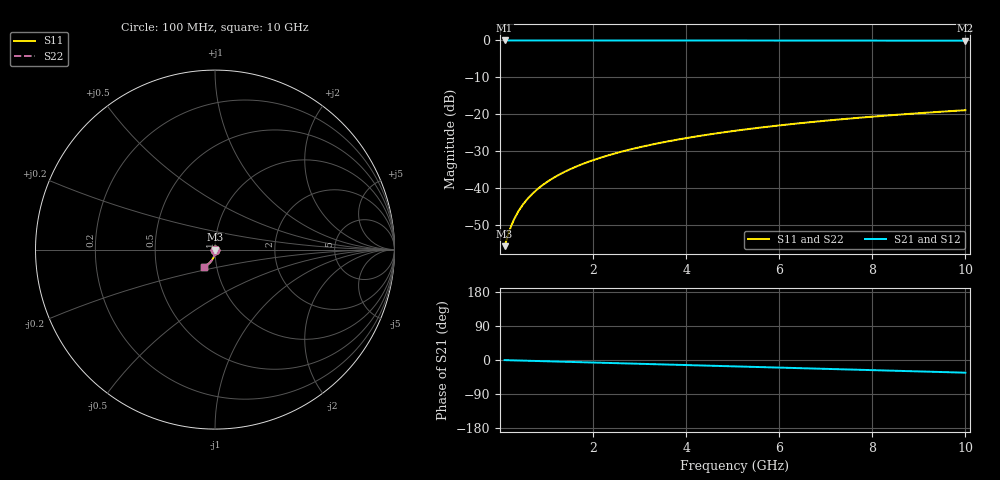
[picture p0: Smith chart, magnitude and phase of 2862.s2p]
# Hz S RI R 50.00
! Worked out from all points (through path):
!   100 points, 100 MHz to 10 GHz, reference 50 ohm
!   highest |S21| = -0.01 dB at 100 MHz (marker M1); lowest = -0.1 dB at 10 GHz (marker M2)
!   group delay of S21, straight-line fit = 9.3 ps
!   lowest |S11| = -55.7 dB at 100 MHz (marker M3), VSWR 1.00, Z = 50.1 - j0.12 ohm
!   |S11| at or under -10 dB: start of sweep to end of sweep
!   |S22| runs from -55.7 to -18.9 dB; largest |S21 - S12| = 0
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1e8  0.00111 -0.0012  0.9989 -0.00581  0.9989 -0.00581  0.00111 -0.0012
2e8  0.0011 -0.0024  0.9988 -0.0116  0.9988 -0.0116  0.0011 -0.0024
3e8  0.00106 -0.0036  0.9987 -0.0174  0.9987 -0.0174  0.00106 -0.0036
4e8  0.00102 -0.0048  0.9986 -0.0232  0.9986 -0.0232  0.00102 -0.0048
5e8  0.000955 -0.006  0.9984 -0.029  0.9984 -0.029  0.000955 -0.006
6e8  0.000878 -0.0072  0.9982 -0.0348  0.9982 -0.0348  0.000878 -0.0072
7e8  0.000788 -0.0084  0.998 -0.0406  0.998 -0.0406  0.000788 -0.0084
8e8  0.000683 -0.00959  0.9977 -0.0465  0.9977 -0.0465  0.000683 -0.00959
9e8  0.000564 -0.0108  0.9974 -0.0523  0.9974 -0.0523  0.000564 -0.0108
1.1e9  0.000284 -0.0132  0.9967 -0.0639  0.9967 -0.0639  0.000284 -0.0132
1.4e9  -0.00024 -0.0167  0.9953 -0.0812  0.9953 -0.0812  -0.00024 -0.0167
1.8e9  -0.00113 -0.0215  0.9931 -0.1044  0.9931 -0.1044  -0.00113 -0.0215
2.1e9  -0.00195 -0.025  0.991 -0.1217  0.991 -0.1217  -0.00195 -0.025
2.5e9  -0.00323 -0.0297  0.9877 -0.1447  0.9877 -0.1447  -0.00323 -0.0297
2.9e9  -0.00472 -0.0342  0.9839 -0.1677  0.9839 -0.1677  -0.00472 -0.0342
3.4e9  -0.00689 -0.0399  0.9784 -0.1963  0.9784 -0.1963  -0.00689 -0.0399
4.2e9  -0.011 -0.0486  0.9677 -0.2416  0.9677 -0.2416  -0.011 -0.0486
5.1e9  -0.0167 -0.058  0.953 -0.292  0.953 -0.292  -0.0167 -0.058
5.9e9  -0.0225 -0.0658  0.9377 -0.336  0.9377 -0.336  -0.0225 -0.0658
6.7e9  -0.029 -0.073  0.9203 -0.3792  0.9203 -0.3792  -0.029 -0.073
8.4e9  -0.0448 -0.0861  0.8766 -0.468  0.8766 -0.468  -0.0448 -0.0861
1e10  -0.0618 -0.0953  0.8274 -0.547  0.8274 -0.547  -0.0618 -0.0953
